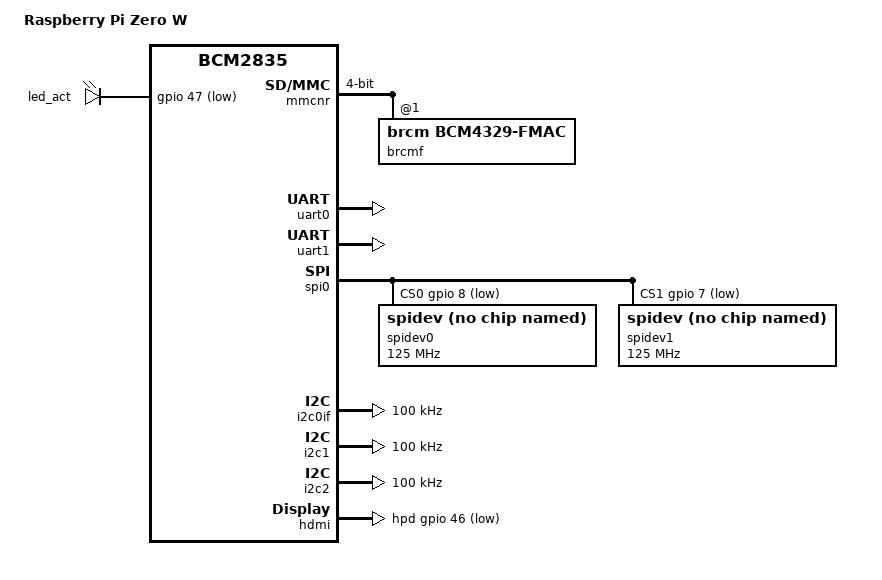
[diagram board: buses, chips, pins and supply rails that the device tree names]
/dts-v1/;

#include "bcm2708.dtsi"
#include "bcm2708-rpi.dtsi"
#include "bcm283x-rpi-csi1-2lane.dtsi"
#include "bcm283x-rpi-i2c0mux_0_28.dtsi"
#include "bcm2708-rpi-bt.dtsi"
#include "bcm283x-rpi-led-deprecated.dtsi"

/ {
	compatible = "raspberrypi,model-zero-w", "brcm,bcm2835";
	model = "Raspberry Pi Zero W";

	aliases {
		serial0 = &uart1;
		serial1 = &uart0;
		mmc1 = &mmcnr;
	};
};

&gpio {
	/*
	 * This is based on the official GPU firmware DT blob.
	 *
	 * Legend:
	 * "NC" = not connected (no rail from the SoC)
	 * "FOO" = GPIO line named "FOO" on the schematic
	 * "FOO_N" = GPIO line named "FOO" on schematic, active low
	 */
	gpio-line-names = "ID_SDA",
			  "ID_SCL",
			  "GPIO2",
			  "GPIO3",
			  "GPIO4",
			  "GPIO5",
			  "GPIO6",
			  "GPIO7",
			  "GPIO8",
			  "GPIO9",
			  "GPIO10",
			  "GPIO11",
			  "GPIO12",
			  "GPIO13",
			  "GPIO14",
			  "GPIO15",
			  "GPIO16",
			  "GPIO17",
			  "GPIO18",
			  "GPIO19",
			  "GPIO20",
			  "GPIO21",
			  "GPIO22",
			  "GPIO23",
			  "GPIO24",
			  "GPIO25",
			  "GPIO26",
			  "GPIO27",
			  "SDA0",
			  "SCL0",
			  /* Used by BT module */
			  "CTS0",
			  "RTS0",
			  "TXD0",
			  "RXD0",
			  /* Used by Wifi */
			  "SD1_CLK",
			  "SD1_CMD",
			  "SD1_DATA0",
			  "SD1_DATA1",
			  "SD1_DATA2",
			  "SD1_DATA3",
			  "CAM_GPIO1", /* GPIO40 */
			  "WL_ON", /* GPIO41 */
			  "NC", /* GPIO42 */
			  "WIFI_CLK", /* GPIO43 */
			  "CAM_GPIO0", /* GPIO44 */
			  "BT_ON", /* GPIO45 */
			  "HDMI_HPD_N",
			  "STATUS_LED_N",
			  /* Used by SD Card */
			  "SD_CLK_R",
			  "SD_CMD_R",
			  "SD_DATA0_R",
			  "SD_DATA1_R",
			  "SD_DATA2_R",
			  "SD_DATA3_R";

	spi0_pins: spi0_pins {
		brcm,pins = <9 10 11>;
		brcm,function = <4>; /* alt0 */
	};

	spi0_cs_pins: spi0_cs_pins {
		brcm,pins = <8 7>;
		brcm,function = <1>; /* output */
	};

	i2c0_pins: i2c0 {
		brcm,pins = <0 1>;
		brcm,function = <4>;
	};

	i2c1_pins: i2c1 {
		brcm,pins = <2 3>;
		brcm,function = <4>;
	};

	i2s_pins: i2s {
		brcm,pins = <18 19 20 21>;
		brcm,function = <4>; /* alt0 */
	};

	sdio_pins: sdio_pins {
		brcm,pins = <34 35 36 37 38 39>;
		brcm,function = <7>; /* ALT3 = SD1 */
		brcm,pull = <0 2 2 2 2 2>;
	};

	bt_pins: bt_pins {
		brcm,pins = <43>;
		brcm,function = <4>; /* alt0:GPCLK2 */
		brcm,pull = <0>; /* none */
	};

	uart0_pins: uart0_pins {
		brcm,pins = <30 31 32 33>;
		brcm,function = <7>; /* alt3=UART0 */
		brcm,pull = <2 0 0 2>; /* up none none up */
	};

	uart1_pins: uart1_pins {
		brcm,pins;
		brcm,function;
		brcm,pull;
	};

	uart1_bt_pins: uart1_bt_pins {
		brcm,pins = <32 33 30 31>;
		brcm,function = <BCM2835_FSEL_ALT5>; /* alt5=UART1 */
		brcm,pull = <0 2 2 0>;
	};

	audio_pins: audio_pins {
		brcm,pins = <>;
		brcm,function = <>;
	};
};

&mmcnr {
	pinctrl-names = "default";
	pinctrl-0 = <&sdio_pins>;
	bus-width = <4>;
	status = "okay";
	#address-cells = <1>;
	#size-cells = <0>;

	brcmf: wifi@1 {
		reg = <1>;
		compatible = "brcm,bcm4329-fmac";
	};
};

&uart0 {
	pinctrl-names = "default";
	pinctrl-0 = <&uart0_pins &bt_pins>;
	status = "okay";
};

&uart1 {
	pinctrl-names = "default";
	pinctrl-0 = <&uart1_pins>;
	status = "okay";
};

&spi0 {
	pinctrl-names = "default";
	pinctrl-0 = <&spi0_pins &spi0_cs_pins>;
	cs-gpios = <&gpio 8 1>, <&gpio 7 1>;

	spidev0: spidev@0{
		compatible = "spidev";
		reg = <0>;	/* CE0 */
		#address-cells = <1>;
		#size-cells = <0>;
		spi-max-frequency = <125000000>;
	};

	spidev1: spidev@1{
		compatible = "spidev";
		reg = <1>;	/* CE1 */
		#address-cells = <1>;
		#size-cells = <0>;
		spi-max-frequency = <125000000>;
	};
};

&i2c0if {
	clock-frequency = <100000>;
};

&i2c1 {
	pinctrl-names = "default";
	pinctrl-0 = <&i2c1_pins>;
	clock-frequency = <100000>;
};

&i2c2 {
	clock-frequency = <100000>;
};

&i2s {
	pinctrl-names = "default";
	pinctrl-0 = <&i2s_pins>;
};

&led_act {
	gpios = <&gpio 47 GPIO_ACTIVE_LOW>;
	default-state = "off";
	linux,default-trigger = "actpwr";
};

&hdmi {
	hpd-gpios = <&gpio 46 GPIO_ACTIVE_LOW>;
};

&vchiq {
	pinctrl-names = "default";
	pinctrl-0 = <&audio_pins>;
};

&cam1_reg {
	gpio = <&gpio 44 GPIO_ACTIVE_HIGH>;
};

cam0_reg: &cam_dummy_reg {
};

i2c_arm: &i2c1 {};
i2c_vc: &i2c0 {};
i2c_csi_dsi0: &i2c0 {};

/ {
	__overrides__ {
		audio = <&chosen>,"bootargs{on='snd_bcm2835.enable_hdmi=1',off='snd_bcm2835.enable_hdmi=0'}";

		act_led_gpio = <&led_act>,"gpios:4";
		act_led_activelow = <&led_act>,"gpios:8";
		act_led_trigger = <&led_act>,"linux,default-trigger";
	};
};
